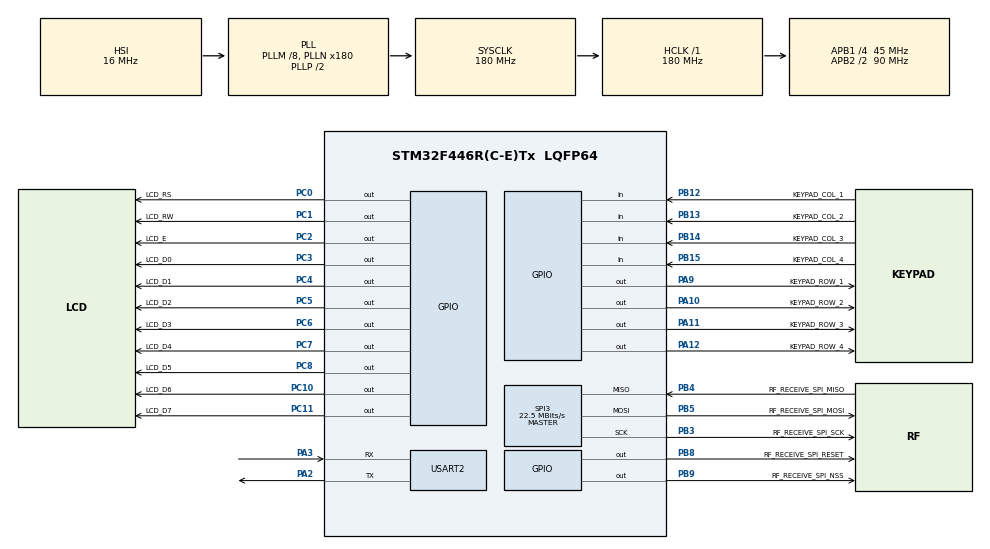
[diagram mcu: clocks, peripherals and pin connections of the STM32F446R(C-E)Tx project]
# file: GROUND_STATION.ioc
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FREERTOS.Tasks01=defaultTask,0,524,StartDefaultTask,Default;RTOS_KEYPAD_TASK,0,524,rtos_keypad_task_process,Default;RTOS_GROUND_CONTROL_TASK,0,524,rtos_ground_control_task_process,Default
FREERTOS.configMAX_TASK_NAME_LEN=64
FREERTOS.configMINIMAL_STACK_SIZE=524
Mcu.Family=STM32F4
Mcu.Name=STM32F446R(C-E)Tx
Mcu.Package=LQFP64
NVIC.PriorityGroup=NVIC_PRIORITYGROUP_4
NVIC.SPI3_IRQn=true\:5\:0\:true\:false\:true\:true
NVIC.TIM1_UP_TIM10_IRQn=true\:0\:0\:false\:false\:true\:false
NVIC.TIM2_IRQn=true\:0\:0\:false\:false\:true\:false
NVIC.TimeBase=TIM1_UP_TIM10_IRQn
NVIC.TimeBaseIP=TIM1
PA10.GPIO_Label=KEYPAD_ROW_2
PA10.GPIO_PuPd=GPIO_PULLDOWN
PA10.GPIO_Speed=GPIO_SPEED_FREQ_MEDIUM
PA10.Signal=GPIO_Output
PA11.GPIO_Label=KEYPAD_ROW_3
PA11.GPIO_PuPd=GPIO_PULLDOWN
PA11.GPIO_Speed=GPIO_SPEED_FREQ_MEDIUM
PA11.Signal=GPIO_Output
PA12.GPIO_Label=KEYPAD_ROW_4
PA12.GPIO_PuPd=GPIO_PULLDOWN
PA12.GPIO_Speed=GPIO_SPEED_FREQ_MEDIUM
PA12.Signal=GPIO_Output
PA13.Mode=Serial_Wire
PA13.Signal=SYS_JTMS-SWDIO
PA14.Mode=Serial_Wire
PA14.Signal=SYS_JTCK-SWCLK
PA2.Mode=Asynchronous
PA2.Signal=USART2_TX
PA3.Mode=Asynchronous
PA3.Signal=USART2_RX
PA9.GPIO_Label=KEYPAD_ROW_1
PA9.GPIO_PuPd=GPIO_PULLDOWN
PA9.GPIO_Speed=GPIO_SPEED_FREQ_MEDIUM
PA9.Signal=GPIO_Output
PB12.GPIO_Label=KEYPAD_COL_1
PB12.GPIO_Mode=GPIO_MODE_INPUT
PB12.GPIO_PuPd=GPIO_PULLDOWN
PB12.Signal=GPIO_Input
PB13.GPIO_Label=KEYPAD_COL_2
PB13.GPIO_Mode=GPIO_MODE_INPUT
PB13.GPIO_PuPd=GPIO_PULLDOWN
PB13.Signal=GPIO_Input
PB14.GPIO_Label=KEYPAD_COL_3
PB14.GPIO_Mode=GPIO_MODE_INPUT
PB14.GPIO_PuPd=GPIO_PULLDOWN
PB14.Signal=GPIO_Input
PB15.GPIO_Label=KEYPAD_COL_4
PB15.GPIO_Mode=GPIO_MODE_INPUT
PB15.GPIO_PuPd=GPIO_PULLDOWN
PB15.Signal=GPIO_Input
PB3.GPIO_Label=RF_RECEIVE_SPI_SCK
PB3.Mode=Full_Duplex_Master
PB3.Signal=SPI3_SCK
PB4.GPIO_Label=RF_RECEIVE_SPI_MISO
PB4.Mode=Full_Duplex_Master
PB4.Signal=SPI3_MISO
PB5.GPIO_Label=RF_RECEIVE_SPI_MOSI
PB5.Mode=Full_Duplex_Master
PB5.Signal=SPI3_MOSI
PB8.GPIO_Label=RF_RECEIVE_SPI_RESET
PB8.GPIO_PuPd=GPIO_PULLDOWN
PB8.GPIO_Speed=GPIO_SPEED_FREQ_MEDIUM
PB8.Signal=GPIO_Output
PB9.GPIO_Label=RF_RECEIVE_SPI_NSS
PB9.GPIO_PuPd=GPIO_PULLUP
PB9.GPIO_Speed=GPIO_SPEED_FREQ_VERY_HIGH
PB9.Signal=GPIO_Output
PC0.GPIO_Label=LCD_RS
PC0.GPIO_PuPd=GPIO_NOPULL
PC0.GPIO_Speed=GPIO_SPEED_FREQ_MEDIUM
PC0.Signal=GPIO_Output
PC1.GPIO_Label=LCD_RW
PC1.GPIO_Speed=GPIO_SPEED_FREQ_MEDIUM
PC1.Signal=GPIO_Output
PC10.GPIO_Label=LCD_D6
PC10.GPIO_Speed=GPIO_SPEED_FREQ_MEDIUM
PC10.Signal=GPIO_Output
PC11.GPIO_Label=LCD_D7
PC11.GPIO_Speed=GPIO_SPEED_FREQ_MEDIUM
PC11.Signal=GPIO_Output
PC2.GPIO_Label=LCD_E
PC2.GPIO_Speed=GPIO_SPEED_FREQ_MEDIUM
PC2.Signal=GPIO_Output
PC3.GPIO_Label=LCD_D0
PC3.GPIO_Speed=GPIO_SPEED_FREQ_MEDIUM
PC3.Signal=GPIO_Output
PC4.GPIO_Label=LCD_D1
PC4.GPIO_Speed=GPIO_SPEED_FREQ_MEDIUM
PC4.Signal=GPIO_Output
PC5.GPIO_Label=LCD_D2
PC5.GPIO_Speed=GPIO_SPEED_FREQ_MEDIUM
PC5.Signal=GPIO_Output
PC6.GPIO_Label=LCD_D3
PC6.GPIO_Speed=GPIO_SPEED_FREQ_MEDIUM
PC6.Signal=GPIO_Output
PC7.GPIO_Label=LCD_D4
PC7.GPIO_Speed=GPIO_SPEED_FREQ_MEDIUM
PC7.Signal=GPIO_Output
PC8.GPIO_Label=LCD_D5
PC8.GPIO_Speed=GPIO_SPEED_FREQ_MEDIUM
PC8.Signal=GPIO_Output
ProjectManager.HeapSize=0x200
ProjectManager.StackSize=0x400
ProjectManager.TargetToolchain=SW4STM32
RCC.AHBFreq_Value=180000000
RCC.APB1CLKDivider=RCC_HCLK_DIV4
RCC.APB1Freq_Value=45000000
RCC.APB1TimFreq_Value=90000000
RCC.APB2CLKDivider=RCC_HCLK_DIV2
RCC.APB2Freq_Value=90000000
RCC.APB2TimFreq_Value=180000000
RCC.CortexFreq_Value=180000000
RCC.HCLKFreq_Value=180000000
RCC.PLLM=8
RCC.PLLN=180
RCC.SYSCLKFreq_VALUE=180000000
RCC.SYSCLKSource=RCC_SYSCLKSOURCE_PLLCLK
RCC.USBFreq_Value=180000000
RCC.VCOOutputFreq_Value=360000000
SPI3.CalculateBaudRate=22.5 MBits/s
SPI3.Mode=SPI_MODE_MASTER
TIM2.Period=1
TIM2.Prescaler=18000
VP_FREERTOS_VS_ENABLE.Mode=Enabled
VP_SYS_VS_tim1.Mode=TIM1
VP_TIM2_VS_ClockSourceINT.Mode=Internal
board=GROUND_STATION

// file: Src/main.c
/**
  ******************************************************************************
  * File Name          : main.c
  * Description        : Main program body
  ******************************************************************************
  *
  * Copyright (c) 2016 STMicroelectronics International N.V.
  * All rights reserved.
  *
  * Redistribution and use in source and binary forms, with or without
  * modification, are permitted, provided that the following conditions are met:
  *
  * 1. Redistribution of source code must retain the above copyright notice,
  *    this list of conditions and the following disclaimer.
  * 2. Redistributions in binary form must reproduce the above copyright notice,
  *    this list of conditions and the following disclaimer in the documentation
  *    and/or other materials provided with the distribution.
  * 3. Neither the name of STMicroelectronics nor the names of other
  *    contributors to this software may be used to endorse or promote products
  *    derived from this software without specific written permission.
  * 4. This software, including modifications and/or derivative works of this
  *    software, must execute solely and exclusively on microcontroller or
  *    microprocessor devices manufactured by or for STMicroelectronics.
  * 5. Redistribution and use of this software other than as permitted under
  *    this license is void and will automatically terminate your rights under
  *    this license.
  *
  * THIS SOFTWARE IS PROVIDED BY STMICROELECTRONICS AND CONTRIBUTORS "AS IS"
  * AND ANY EXPRESS, IMPLIED OR STATUTORY WARRANTIES, INCLUDING, BUT NOT
  * LIMITED TO, THE IMPLIED WARRANTIES OF MERCHANTABILITY, FITNESS FOR A
  * PARTICULAR PURPOSE AND NON-INFRINGEMENT OF THIRD PARTY INTELLECTUAL PROPERTY
  * RIGHTS ARE DISCLAIMED TO THE FULLEST EXTENT PERMITTED BY LAW. IN NO EVENT
  * SHALL STMICROELECTRONICS OR CONTRIBUTORS BE LIABLE FOR ANY DIRECT, INDIRECT,
  * INCIDENTAL, SPECIAL, EXEMPLARY, OR CONSEQUENTIAL DAMAGES (INCLUDING, BUT NOT
  * LIMITED TO, PROCUREMENT OF SUBSTITUTE GOODS OR SERVICES; LOSS OF USE, DATA,
  * OR PROFITS; OR BUSINESS INTERRUPTION) HOWEVER CAUSED AND ON ANY THEORY OF
  * LIABILITY, WHETHER IN CONTRACT, STRICT LIABILITY, OR TORT (INCLUDING
  * NEGLIGENCE OR OTHERWISE) ARISING IN ANY WAY OUT OF THE USE OF THIS SOFTWARE,
  * EVEN IF ADVISED OF THE POSSIBILITY OF SUCH DAMAGE.
  *
  ******************************************************************************
  */
#include "main.h"
#include "stm32f4xx_hal.h"
#include "cmsis_os.h"

/* USER CODE BEGIN Includes */
#include "stdio.h"
#include "Keypad_task.h"
#include "LCD_task.h"
#include "Ground_control_task.h"

/* USER CODE END Includes */

SPI_HandleTypeDef hspi3;

TIM_HandleTypeDef htim2;

UART_HandleTypeDef huart2;

osThreadId defaultTaskHandle;
osThreadId RTOS_KEYPAD_TASKHandle;
osThreadId RTOS_GROUND_CONTROL_TASKHandle;

/* USER CODE BEGIN PV */
/* Private variables ---------------------------------------------------------*/

/* USER CODE END PV */

void SystemClock_Config(void);
void Error_Handler(void);
static void MX_GPIO_Init(void);
static void MX_SPI3_Init(void);
static void MX_TIM2_Init(void);
static void MX_USART2_UART_Init(void);
void StartDefaultTask(void const * argument);
void rtos_keypad_task_process(void const * argument);
void rtos_ground_control_task_process(void const * argument);

/* USER CODE BEGIN PFP */
/* Private function prototypes -----------------------------------------------*/

/* USER CODE END PFP */

int main(void)
{

  /* MCU Configuration----------------------------------------------------------*/

  /* Reset of all peripherals, Initializes the Flash interface and the Systick. */
  HAL_Init();

  /* Configure the system clock */
  SystemClock_Config();

  /* Initialize all configured peripherals */
  MX_GPIO_Init();
  MX_SPI3_Init();
  MX_TIM2_Init();
  MX_USART2_UART_Init();

  /* USER CODE BEGIN 2 */
  keypad_task_init();
  lcd_task_init();
  ground_control_task_init();
  lcd_set_init();
  /* USER CODE END 2 */

  /* Create the thread(s) */
  /* definition and creation of defaultTask */
  osThreadDef(defaultTask, StartDefaultTask, osPriorityNormal, 0, 524);
  defaultTaskHandle = osThreadCreate(osThread(defaultTask), NULL);

  /* definition and creation of RTOS_KEYPAD_TASK */
  osThreadDef(RTOS_KEYPAD_TASK, rtos_keypad_task_process, osPriorityNormal, 0, 524);
  RTOS_KEYPAD_TASKHandle = osThreadCreate(osThread(RTOS_KEYPAD_TASK), NULL);

  /* definition and creation of RTOS_GROUND_CONTROL_TASK */
  osThreadDef(RTOS_GROUND_CONTROL_TASK, rtos_ground_control_task_process, osPriorityNormal, 0, 524);
  RTOS_GROUND_CONTROL_TASKHandle = osThreadCreate(osThread(RTOS_GROUND_CONTROL_TASK), NULL);

  /* Start scheduler */
  osKernelStart();

  /* We should never get here as control is now taken by the scheduler */

  /* Infinite loop */
  while (1)
  {

  }

}

/** System Clock Configuration
*/
void SystemClock_Config(void)
{

  RCC_OscInitTypeDef RCC_OscInitStruct;
  RCC_ClkInitTypeDef RCC_ClkInitStruct;

    /**Configure the main internal regulator output voltage
    */
  __HAL_RCC_PWR_CLK_ENABLE();

  __HAL_PWR_VOLTAGESCALING_CONFIG(PWR_REGULATOR_VOLTAGE_SCALE1);

    /**Initializes the CPU, AHB and APB busses clocks
    */
  RCC_OscInitStruct.OscillatorType = RCC_OSCILLATORTYPE_HSI;
  RCC_OscInitStruct.HSIState = RCC_HSI_ON;
  RCC_OscInitStruct.HSICalibrationValue = 16;
  RCC_OscInitStruct.PLL.PLLState = RCC_PLL_ON;
  RCC_OscInitStruct.PLL.PLLSource = RCC_PLLSOURCE_HSI;
  RCC_OscInitStruct.PLL.PLLM = 8;
  RCC_OscInitStruct.PLL.PLLN = 180;
  RCC_OscInitStruct.PLL.PLLP = RCC_PLLP_DIV2;
  RCC_OscInitStruct.PLL.PLLQ = 2;
  RCC_OscInitStruct.PLL.PLLR = 2;
  if (HAL_RCC_OscConfig(&RCC_OscInitStruct) != HAL_OK)
  {
    Error_Handler();
  }

    /**Activate the Over-Drive mode
    */
  if (HAL_PWREx_EnableOverDrive() != HAL_OK)
  {
    Error_Handler();
  }

    /**Initializes the CPU, AHB and APB busses clocks
    */
  RCC_ClkInitStruct.ClockType = RCC_CLOCKTYPE_HCLK|RCC_CLOCKTYPE_SYSCLK
                              |RCC_CLOCKTYPE_PCLK1|RCC_CLOCKTYPE_PCLK2;
  RCC_ClkInitStruct.SYSCLKSource = RCC_SYSCLKSOURCE_PLLCLK;
  RCC_ClkInitStruct.AHBCLKDivider = RCC_SYSCLK_DIV1;
  RCC_ClkInitStruct.APB1CLKDivider = RCC_HCLK_DIV4;
  RCC_ClkInitStruct.APB2CLKDivider = RCC_HCLK_DIV2;

  if (HAL_RCC_ClockConfig(&RCC_ClkInitStruct, FLASH_LATENCY_5) != HAL_OK)
  {
    Error_Handler();
  }

    /**Configure the Systick interrupt time
    */
  HAL_SYSTICK_Config(HAL_RCC_GetHCLKFreq()/1000);

    /**Configure the Systick
    */
  HAL_SYSTICK_CLKSourceConfig(SYSTICK_CLKSOURCE_HCLK);

  /* SysTick_IRQn interrupt configuration */
  HAL_NVIC_SetPriority(SysTick_IRQn, 15, 0);
}

/* SPI3 init function */
static void MX_SPI3_Init(void)
{

  hspi3.Instance = SPI3;
  hspi3.Init.Mode = SPI_MODE_MASTER;
  hspi3.Init.Direction = SPI_DIRECTION_2LINES;
  hspi3.Init.DataSize = SPI_DATASIZE_8BIT;
  hspi3.Init.CLKPolarity = SPI_POLARITY_LOW;
  hspi3.Init.CLKPhase = SPI_PHASE_1EDGE;
  hspi3.Init.NSS = SPI_NSS_SOFT;
  hspi3.Init.BaudRatePrescaler = SPI_BAUDRATEPRESCALER_2;
  hspi3.Init.FirstBit = SPI_FIRSTBIT_MSB;
  hspi3.Init.TIMode = SPI_TIMODE_DISABLE;
  hspi3.Init.CRCCalculation = SPI_CRCCALCULATION_DISABLE;
  hspi3.Init.CRCPolynomial = 10;
  if (HAL_SPI_Init(&hspi3) != HAL_OK)
  {
    Error_Handler();
  }

}

/* TIM2 init function */
static void MX_TIM2_Init(void)
{

  TIM_ClockConfigTypeDef sClockSourceConfig;
  TIM_MasterConfigTypeDef sMasterConfig;

  htim2.Instance = TIM2;
  htim2.Init.Prescaler = 18000;
  htim2.Init.CounterMode = TIM_COUNTERMODE_UP;
  htim2.Init.Period = 1;
  htim2.Init.ClockDivision = TIM_CLOCKDIVISION_DIV1;
  if (HAL_TIM_Base_Init(&htim2) != HAL_OK)
  {
    Error_Handler();
  }

  sClockSourceConfig.ClockSource = TIM_CLOCKSOURCE_INTERNAL;
  if (HAL_TIM_ConfigClockSource(&htim2, &sClockSourceConfig) != HAL_OK)
  {
    Error_Handler();
  }

  sMasterConfig.MasterOutputTrigger = TIM_TRGO_RESET;
  sMasterConfig.MasterSlaveMode = TIM_MASTERSLAVEMODE_DISABLE;
  if (HAL_TIMEx_MasterConfigSynchronization(&htim2, &sMasterConfig) != HAL_OK)
  {
    Error_Handler();
  }

}

/* USART2 init function */
static void MX_USART2_UART_Init(void)
{

  huart2.Instance = USART2;
  huart2.Init.BaudRate = 115200;
  huart2.Init.WordLength = UART_WORDLENGTH_8B;
  huart2.Init.StopBits = UART_STOPBITS_1;
  huart2.Init.Parity = UART_PARITY_NONE;
  huart2.Init.Mode = UART_MODE_TX_RX;
  huart2.Init.HwFlowCtl = UART_HWCONTROL_NONE;
  huart2.Init.OverSampling = UART_OVERSAMPLING_16;
  if (HAL_UART_Init(&huart2) != HAL_OK)
  {
    Error_Handler();
  }

}

/** Configure pins as
        * Analog
        * Input
        * Output
        * EVENT_OUT
        * EXTI
*/
static void MX_GPIO_Init(void)
{

  GPIO_InitTypeDef GPIO_InitStruct;

  /* GPIO Ports Clock Enable */
  __HAL_RCC_GPIOC_CLK_ENABLE();
  __HAL_RCC_GPIOA_CLK_ENABLE();
  __HAL_RCC_GPIOB_CLK_ENABLE();

  /*Configure GPIO pin Output Level */
  HAL_GPIO_WritePin(GPIOC, LCD_RS_Pin|LCD_RW_Pin|LCD_E_Pin|LCD_D0_Pin
                          |LCD_D1_Pin|LCD_D2_Pin|LCD_D3_Pin|LCD_D4_Pin
                          |LCD_D5_Pin|LCD_D6_Pin|LCD_D7_Pin, GPIO_PIN_RESET);

  /*Configure GPIO pin Output Level */
  HAL_GPIO_WritePin(GPIOA, KEYPAD_ROW_1_Pin|KEYPAD_ROW_2_Pin|KEYPAD_ROW_3_Pin|KEYPAD_ROW_4_Pin, GPIO_PIN_RESET);

  /*Configure GPIO pin Output Level */
  HAL_GPIO_WritePin(GPIOB, RF_RECEIVE_SPI_RESET_Pin|RF_RECEIVE_SPI_NSS_Pin, GPIO_PIN_RESET);

  /*Configure GPIO pins : LCD_RS_Pin LCD_RW_Pin LCD_E_Pin LCD_D0_Pin
                           LCD_D1_Pin LCD_D2_Pin LCD_D3_Pin LCD_D4_Pin
                           LCD_D5_Pin LCD_D6_Pin LCD_D7_Pin */
  GPIO_InitStruct.Pin = LCD_RS_Pin|LCD_RW_Pin|LCD_E_Pin|LCD_D0_Pin
                          |LCD_D1_Pin|LCD_D2_Pin|LCD_D3_Pin|LCD_D4_Pin
                          |LCD_D5_Pin|LCD_D6_Pin|LCD_D7_Pin;
  GPIO_InitStruct.Mode = GPIO_MODE_OUTPUT_PP;
  GPIO_InitStruct.Pull = GPIO_NOPULL;
  GPIO_InitStruct.Speed = GPIO_SPEED_FREQ_MEDIUM;
  HAL_GPIO_Init(GPIOC, &GPIO_InitStruct);

  /*Configure GPIO pins : KEYPAD_COL_1_Pin KEYPAD_COL_2_Pin KEYPAD_COL_3_Pin KEYPAD_COL_4_Pin */
  GPIO_InitStruct.Pin = KEYPAD_COL_1_Pin|KEYPAD_COL_2_Pin|KEYPAD_COL_3_Pin|KEYPAD_COL_4_Pin;
  GPIO_InitStruct.Mode = GPIO_MODE_INPUT;
  GPIO_InitStruct.Pull = GPIO_PULLDOWN;
  HAL_GPIO_Init(GPIOB, &GPIO_InitStruct);

  /*Configure GPIO pins : KEYPAD_ROW_1_Pin KEYPAD_ROW_2_Pin KEYPAD_ROW_3_Pin KEYPAD_ROW_4_Pin */
  GPIO_InitStruct.Pin = KEYPAD_ROW_1_Pin|KEYPAD_ROW_2_Pin|KEYPAD_ROW_3_Pin|KEYPAD_ROW_4_Pin;
  GPIO_InitStruct.Mode = GPIO_MODE_OUTPUT_PP;
  GPIO_InitStruct.Pull = GPIO_PULLDOWN;
  GPIO_InitStruct.Speed = GPIO_SPEED_FREQ_MEDIUM;
  HAL_GPIO_Init(GPIOA, &GPIO_InitStruct);

  /*Configure GPIO pin : RF_RECEIVE_SPI_RESET_Pin */
  GPIO_InitStruct.Pin = RF_RECEIVE_SPI_RESET_Pin;
  GPIO_InitStruct.Mode = GPIO_MODE_OUTPUT_PP;
  GPIO_InitStruct.Pull = GPIO_PULLDOWN;
  GPIO_InitStruct.Speed = GPIO_SPEED_FREQ_MEDIUM;
  HAL_GPIO_Init(RF_RECEIVE_SPI_RESET_GPIO_Port, &GPIO_InitStruct);

  /*Configure GPIO pin : RF_RECEIVE_SPI_NSS_Pin */
  GPIO_InitStruct.Pin = RF_RECEIVE_SPI_NSS_Pin;
  GPIO_InitStruct.Mode = GPIO_MODE_OUTPUT_PP;
  GPIO_InitStruct.Pull = GPIO_PULLUP;
  GPIO_InitStruct.Speed = GPIO_SPEED_FREQ_VERY_HIGH;
  HAL_GPIO_Init(RF_RECEIVE_SPI_NSS_GPIO_Port, &GPIO_InitStruct);

}

/* USER CODE BEGIN 4 */

int _write(int file, char *ptr, int len)
{
    HAL_UART_Transmit(&huart2,(uint8_t *)ptr,len,10);
    return len;
}

/* USER CODE END 4 */

/* StartDefaultTask function */
void StartDefaultTask(void const * argument)
{

  /* USER CODE BEGIN 5 */
    //uint8_t count = 0;
  /* Infinite loop */
  for(;;)
  {
  /*  switch(count)
    {
        case 0: lcd_task_write_whole("FREERTOS CHUPAMELA");
                break;
        case 1: lcd_task_write_whole("PUTO AMO");
                break;
        case 2: lcd_task_write_whole("CHUPA CHUPA 5 EUROS");
                break;
        case 3: lcd_task_write_whole("PO COMO=?");
                break;
    }
    count++;
    if(count > 3)
    {
        count =0;
    }*/
    vTaskDelay(5000);
  }
  /* USER CODE END 5 */
}

/* rtos_keypad_task_process function */
void rtos_keypad_task_process(void const * argument)
{
  /* USER CODE BEGIN rtos_keypad_task_process */
  /* Infinite loop */
  for(;;)
  {
    keypad_task_check_keyboard();
    vTaskDelay(10);
  }
  /* USER CODE END rtos_keypad_task_process */
}

/* rtos_ground_control_task_process function */
void rtos_ground_control_task_process(void const * argument)
{
  /* USER CODE BEGIN rtos_ground_control_task_process */
  /* Infinite loop */
  for(;;)
  {
    ground_control_task_main();
    vTaskDelay(500);
  }
  /* USER CODE END rtos_ground_control_task_process */
}

void HAL_TIM_PeriodElapsedCallback(TIM_HandleTypeDef *htim)
{
  if (htim->Instance == TIM1) {
    HAL_IncTick();
  }
}

void Error_Handler(void)
{
  while(1)
  {
  }
}

/************************ (C) COPYRIGHT STMicroelectronics *****END OF FILE****/
